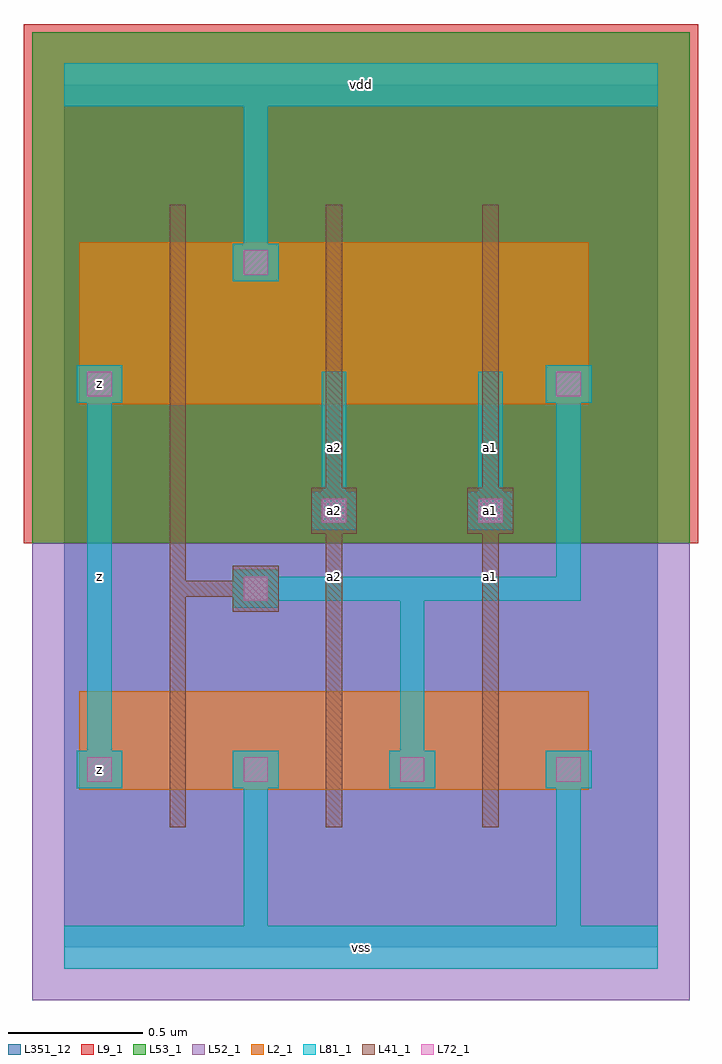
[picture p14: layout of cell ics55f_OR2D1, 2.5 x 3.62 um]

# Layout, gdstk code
import gdstk
lib = gdstk.Library(unit=1e-6, precision=1e-09)
def R(c, l, rs):  # rectangles x0, y0, x1, y1
    for r in rs: c.add(gdstk.rectangle(r[:2], r[2:], *l))
def A(c, l, x, y, w, h, nx, ny, dx, dy):  # array of equal rectangles
    R(c, l, [(x+i*dx, y+j*dy, x+i*dx+w, y+j*dy+h) for i in range(nx) for j in range(ny)])
def P(c, l, *ps):  # polygons
    for p in ps: c.add(gdstk.Polygon(p, *l))
L0_0 = (0, 0)
L2_1 = (2, 1)
L9_1 = (9, 1)
L41_1 = (41, 1)
L52_1 = (52, 1)
L53_1 = (53, 1)
L72_1 = (72, 1)
L81_1 = (81, 1)
L351_12 = (351, 12)

ics55f_or2d1 = lib.new_cell('ics55f_OR2D1')
A(ics55f_or2d1, L2_1, 0.055, 0.585, 0.73, 0.365, 3, 1, 0.58, 0)
A(ics55f_or2d1, L2_1, 0.055, 0.585, 0.15, 0.15, 4, 1, 0.58, 0)
A(ics55f_or2d1, L2_1, 0.055, 2.015, 0.73, 0.6, 3, 1, 0.58, 0)
R(ics55f_or2d1, L2_1, [(0.055,2.015,0.205,2.165), (1.795,2.015,1.945,2.165), (0.635,2.465,0.785,2.615)])
R(ics55f_or2d1, L9_1, [(-0.15,1.5,2.35,3.425)])
A(ics55f_or2d1, L41_1, 0.39, 0.445, 0.06, 0.645, 3, 1, 0.58, 0)
A(ics55f_or2d1, L41_1, 0.39, 1.875, 0.06, 0.88, 3, 1, 0.58, 0)
R(ics55f_or2d1, L41_1, [(0.39,0.63,0.45,1.36), (0.97,0.63,1.03,2.12), (1.55,0.63,1.61,2.12), (0.625,1.245,0.795,1.415), (0.39,1.3,0.74,1.36), (0.39,1.3,0.45,2.12), (0.915,1.535,1.085,1.705), (1.495,1.535,1.665,1.705)])
R(ics55f_or2d1, L52_1, [(-0.12,-0.195,2.32,1.5)])
R(ics55f_or2d1, L53_1, [(-0.12,1.5,2.32,3.395)])
A(ics55f_or2d1, L72_1, 0.085, 0.615, 0.09, 0.09, 4, 1, 0.58, 0)
R(ics55f_or2d1, L72_1, [(0.665,1.285,0.755,1.375), (0.955,1.575,1.045,1.665), (1.535,1.575,1.625,1.665), (0.085,2.045,0.175,2.135), (1.825,2.045,1.915,2.135), (0.665,2.495,0.755,2.585)])
P(ics55f_or2d1, L81_1, [(0,-0.08),(0,0.08),(0.665,0.08),(0.665,0.59),(0.625,0.59),(0.625,0.73),(0.795,0.73),(0.795,0.59),(0.755,0.59),(0.755,0.08),(1.825,0.08),(1.825,0.59),(1.785,0.59),(1.785,0.73),(1.955,0.73),(1.955,0.59),(1.915,0.59),(1.915,0.08),(2.2,0.08),(2.2,-0.08)],
  [(0.915,1.55),(0.915,1.69),(0.955,1.69),(0.955,2.135),(1.045,2.135),(1.045,1.69),(1.085,1.69),(1.085,1.55)],
  [(1.495,1.55),(1.495,1.69),(1.535,1.69),(1.535,2.135),(1.625,2.135),(1.625,1.69),(1.665,1.69),(1.665,1.55)],
  [(0.045,0.59),(0.045,0.73),(0.085,0.73),(0.085,2.02),(0.045,2.02),(0.045,2.16),(0.215,2.16),(0.215,2.02),(0.175,2.02),(0.175,0.73),(0.215,0.73),(0.215,0.59)],
  [(1.205,0.59),(1.205,0.73),(1.245,0.73),(1.245,1.285),(0.795,1.285),(0.795,1.26),(0.625,1.26),(0.625,1.4),(0.795,1.4),(0.795,1.375),(1.825,1.375),(1.825,2.02),(1.785,2.02),(1.785,2.16),(1.955,2.16),(1.955,2.02),(1.915,2.02),(1.915,1.285),(1.335,1.285),(1.335,0.73),(1.375,0.73),(1.375,0.59)],
  [(0.625,2.47),(0.625,2.61),(0.665,2.61),(0.665,3.12),(0,3.12),(0,3.28),(2.2,3.28),(2.2,3.12),(0.755,3.12),(0.755,2.61),(0.795,2.61),(0.795,2.47)])
R(ics55f_or2d1, L351_12, [(0,0,2.2,3.2)])
ics55f_or2d1.add(gdstk.FlexPath([(0.045,0.24),(1.955,0.24)], 0, ends="flush", simple_path=True, layer=0, datatype=0))  # L0_0
ics55f_or2d1.add(gdstk.FlexPath([(0.045,0.66),(1.955,0.66)], 0, ends="flush", simple_path=True, layer=0, datatype=0))  # L0_0
ics55f_or2d1.add(gdstk.FlexPath([(0.045,0.91),(1.955,0.91)], 0, ends="flush", simple_path=True, layer=0, datatype=0))  # L0_0
ics55f_or2d1.add(gdstk.FlexPath([(0.045,1.33),(1.955,1.33)], 0, ends="flush", simple_path=True, layer=0, datatype=0))  # L0_0
ics55f_or2d1.add(gdstk.FlexPath([(0.045,1.62),(1.955,1.62)], 0, ends="flush", simple_path=True, layer=0, datatype=0))  # L0_0
ics55f_or2d1.add(gdstk.FlexPath([(0.045,2.09),(1.955,2.09)], 0, ends="flush", simple_path=True, layer=0, datatype=0))  # L0_0
ics55f_or2d1.add(gdstk.FlexPath([(0.045,2.54),(1.955,2.54)], 0, ends="flush", simple_path=True, layer=0, datatype=0))  # L0_0
ics55f_or2d1.add(gdstk.FlexPath([(0.045,2.96),(1.955,2.96)], 0, ends="flush", simple_path=True, layer=0, datatype=0))  # L0_0
ics55f_or2d1.add(gdstk.FlexPath([(0.13,0.03),(0.13,3.17)], 0, ends="flush", simple_path=True, layer=0, datatype=0))  # L0_0
ics55f_or2d1.add(gdstk.FlexPath([(0.42,0.03),(0.42,3.17)], 0, ends="flush", simple_path=True, layer=0, datatype=0))  # L0_0
ics55f_or2d1.add(gdstk.FlexPath([(0.71,0.03),(0.71,3.17)], 0, ends="flush", simple_path=True, layer=0, datatype=0))  # L0_0
ics55f_or2d1.add(gdstk.FlexPath([(1,0.03),(1,3.17)], 0, ends="flush", simple_path=True, layer=0, datatype=0))  # L0_0
ics55f_or2d1.add(gdstk.FlexPath([(1.29,0.03),(1.29,3.17)], 0, ends="flush", simple_path=True, layer=0, datatype=0))  # L0_0
ics55f_or2d1.add(gdstk.FlexPath([(1.58,0.03),(1.58,3.17)], 0, ends="flush", simple_path=True, layer=0, datatype=0))  # L0_0
ics55f_or2d1.add(gdstk.FlexPath([(1.87,0.03),(1.87,3.17)], 0, ends="flush", simple_path=True, layer=0, datatype=0))  # L0_0
ics55f_or2d1.add(gdstk.Label('z', (0.13,0.66), layer=2, texttype=1))
ics55f_or2d1.add(gdstk.Label('z', (0.13,2.09), layer=2, texttype=1))
ics55f_or2d1.add(gdstk.Label('a1', (1.58,1.375), layer=41, texttype=1))
ics55f_or2d1.add(gdstk.Label('a1', (1.58,1.62), layer=41, texttype=1))
ics55f_or2d1.add(gdstk.Label('a2', (1,1.375), layer=41, texttype=1))
ics55f_or2d1.add(gdstk.Label('a2', (1,1.62), layer=41, texttype=1))
ics55f_or2d1.add(gdstk.Label('z', (0.13,0.66), layer=72, texttype=1))
ics55f_or2d1.add(gdstk.Label('z', (0.13,2.09), layer=72, texttype=1))
ics55f_or2d1.add(gdstk.Label('a1', (1.58,1.62), layer=72, texttype=1))
ics55f_or2d1.add(gdstk.Label('a2', (1,1.62), layer=72, texttype=1))
ics55f_or2d1.add(gdstk.Label('z', (0.13,0.66), layer=81, texttype=6))
ics55f_or2d1.add(gdstk.Label('z', (0.13,2.09), layer=81, texttype=6))
ics55f_or2d1.add(gdstk.Label('z', (0.13,1.375), layer=81, texttype=6))
ics55f_or2d1.add(gdstk.Label('a1', (1.58,1.62), layer=81, texttype=6))
ics55f_or2d1.add(gdstk.Label('a1', (1.58,1.855), layer=81, texttype=6))
ics55f_or2d1.add(gdstk.Label('a2', (1,1.62), layer=81, texttype=6))
ics55f_or2d1.add(gdstk.Label('a2', (1,1.855), layer=81, texttype=6))
ics55f_or2d1.add(gdstk.Label('vss', (1.1,0), layer=81, texttype=6))
ics55f_or2d1.add(gdstk.Label('vdd', (1.1,3.2), layer=81, texttype=6))

lib.write_gds('ics55f_OR2D1.gds')
